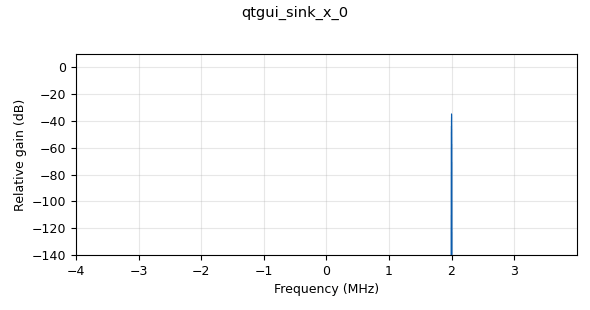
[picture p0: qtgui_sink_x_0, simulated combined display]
options:
  parameters:
    author: Muthanna A. Alwahash
    copyright: '2021'
    generate_options: qt_gui
    id: noise_wf
    output_language: python
    title: Noise Waterfall
  states: {}

blocks:
- name: amp
  id: variable
  parameters:
    value: '0.05'
  states: {}
- name: bandwidth
  id: variable
  parameters:
    value: 8e6
  states: {}
- name: freq
  id: variable
  parameters:
    value: '2000000'
  states: {}
- name: ftt_size
  id: variable
  parameters:
    value: '4096'
  states: {}
- name: samp_rate
  id: variable
  parameters:
    value: freq*4
  states: {}
- name: analog_sig_source_x_0
  id: analog_sig_source_x
  parameters:
    amp: amp
    freq: freq
    offset: '0'
    phase: '0'
    samp_rate: samp_rate
    type: complex
    waveform: analog.GR_SIN_WAVE
  states: {}
- name: qtgui_sink_x_0
  id: qtgui_sink_x
  parameters:
    bw: bandwidth
    fc: '0'
    fftsize: '4096'
    plotconst: 'False'
    plottime: 'False'
    plotwaterfall: 'False'
    type: complex
  states: {}

connections:
- [analog_sig_source_x_0, '0', qtgui_sink_x_0, '0']

metadata:
  file_format: 1
  grc_version: 3.10.12.0
